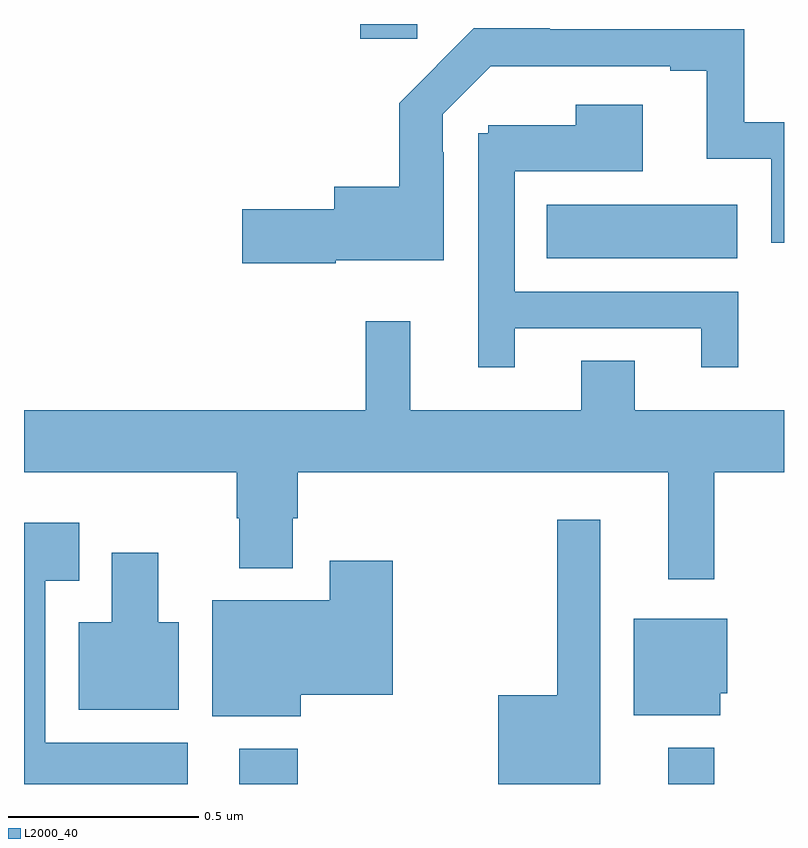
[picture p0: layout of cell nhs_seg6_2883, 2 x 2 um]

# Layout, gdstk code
import gdstk
lib = gdstk.Library(unit=1e-6, precision=1e-09)
def R(c, l, rs):  # rectangles x0, y0, x1, y1
    for r in rs: c.add(gdstk.rectangle(r[:2], r[2:], *l))
def P(c, l, *ps):  # polygons
    for p in ps: c.add(gdstk.Polygon(p, *l))
L2000_40 = (2000, 40)

nhs_seg6_2883 = lib.new_cell('nhs_seg6_2883')
R(nhs_seg6_2883, L2000_40, [(149.567,962.5,149.72,962.593), (150.695,962.5,150.817,962.596), (150.376,963.884,150.877,964.024), (149.885,964.461,150.035,964.5)])
P(nhs_seg6_2883, L2000_40, [(149.82,963.878),(150.105,963.878),(150.105,964.163),(150.102,964.163),(150.102,964.263),(150.228,964.389),(150.701,964.389),(150.701,964.377),(150.797,964.377),(150.797,964.146),(150.966,964.146),(150.966,963.924),(151,963.924),(151,964.242),(150.895,964.242),(150.895,964.486),(150.383,964.486),(150.383,964.489),(150.184,964.489),(149.987,964.291),(149.987,964.072),(149.816,964.072),(149.816,964.013),(149.574,964.013),(149.574,963.871),(149.82,963.871)],
  [(150.292,963.699),(150.782,963.699),(150.782,963.597),(150.88,963.597),(150.88,963.795),(150.291,963.795),(150.291,964.112),(150.628,964.112),(150.628,964.288),(150.452,964.288),(150.452,964.234),(150.222,964.234),(150.222,964.212),(150.195,964.212),(150.195,963.597),(150.292,963.597)],
  [(150.817,963.32),(151,963.32),(151,963.484),(150.607,963.484),(150.607,963.614),(150.467,963.614),(150.467,963.484),(150.017,963.484),(150.017,963.718),(149.899,963.718),(149.899,963.484),(149,963.484),(149,963.32),(149.56,963.32),(149.56,963.2),(149.567,963.2),(149.567,963.068),(149.707,963.068),(149.707,963.2),(149.72,963.2),(149.72,963.32),(150.695,963.32),(150.695,963.039),(150.817,963.039)],
  [(150.517,963.196),(150.403,963.196),(150.403,962.734),(150.248,962.734),(150.248,962.5),(150.517,962.5)],
  [(149.431,962.608),(149.056,962.608),(149.056,963.035),(149.146,963.035),(149.146,963.187),(149,963.187),(149,962.5),(149.431,962.5)],
  [(149.407,962.926),(149.353,962.926),(149.353,963.109),(149.231,963.109),(149.231,962.926),(149.144,962.926),(149.144,962.696),(149.407,962.696)],
  [(149.728,962.735),(149.97,962.735),(149.97,963.088),(149.804,963.088),(149.804,962.983),(149.495,962.983),(149.495,962.678),(149.728,962.678)],
  [(150.832,962.739),(150.85,962.739),(150.85,962.935),(150.605,962.935),(150.605,962.681),(150.832,962.681)])

lib.write_gds('nhs_seg6_2883.gds')
